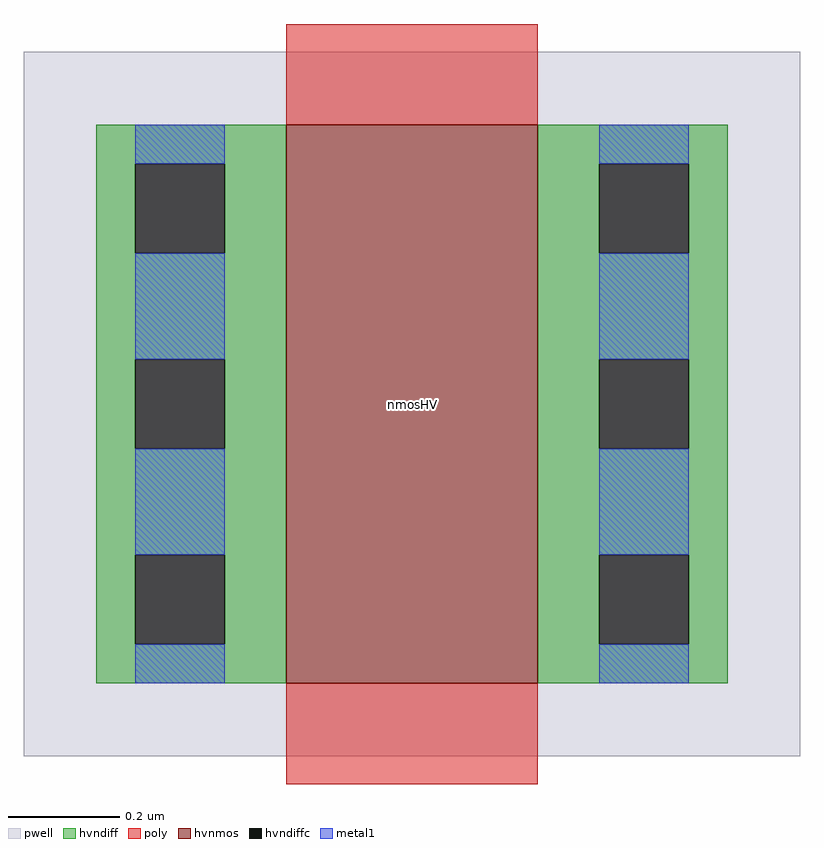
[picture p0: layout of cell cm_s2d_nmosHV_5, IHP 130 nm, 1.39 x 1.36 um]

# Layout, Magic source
magic
tech ihp-sg13cmos5l
magscale 1 2
<< pwell >>
rect -26 -26 252 226
<< hvnmos >>
rect 68 0 158 200
<< hvndiff >>
rect 0 186 68 200
rect 0 154 14 186
rect 46 154 68 186
rect 0 116 68 154
rect 0 84 14 116
rect 46 84 68 116
rect 0 46 68 84
rect 0 14 14 46
rect 46 14 68 46
rect 0 0 68 14
rect 158 186 226 200
rect 158 154 180 186
rect 212 154 226 186
rect 158 116 226 154
rect 158 84 180 116
rect 212 84 226 116
rect 158 46 226 84
rect 158 14 180 46
rect 212 14 226 46
rect 158 0 226 14
<< hvndiffc >>
rect 14 154 46 186
rect 14 84 46 116
rect 14 14 46 46
rect 180 154 212 186
rect 180 84 212 116
rect 180 14 212 46
<< poly >>
rect 68 200 158 236
rect 68 -36 158 0
<< metal1 >>
rect 14 186 46 200
rect 14 116 46 154
rect 14 46 46 84
rect 14 0 46 14
rect 180 186 212 200
rect 180 116 212 154
rect 180 46 212 84
rect 180 0 212 14
<< labels >>
flabel comment s 113 100 113 100 0 FreeSans 200 90 0 0 nmosHV
<< properties >>
string GDS_END 19168
string GDS_FILE custom_io/gds/sg13cmos5l_IOPadSingle2Diff.uniq.gds
string GDS_START 17932
<< end >>
